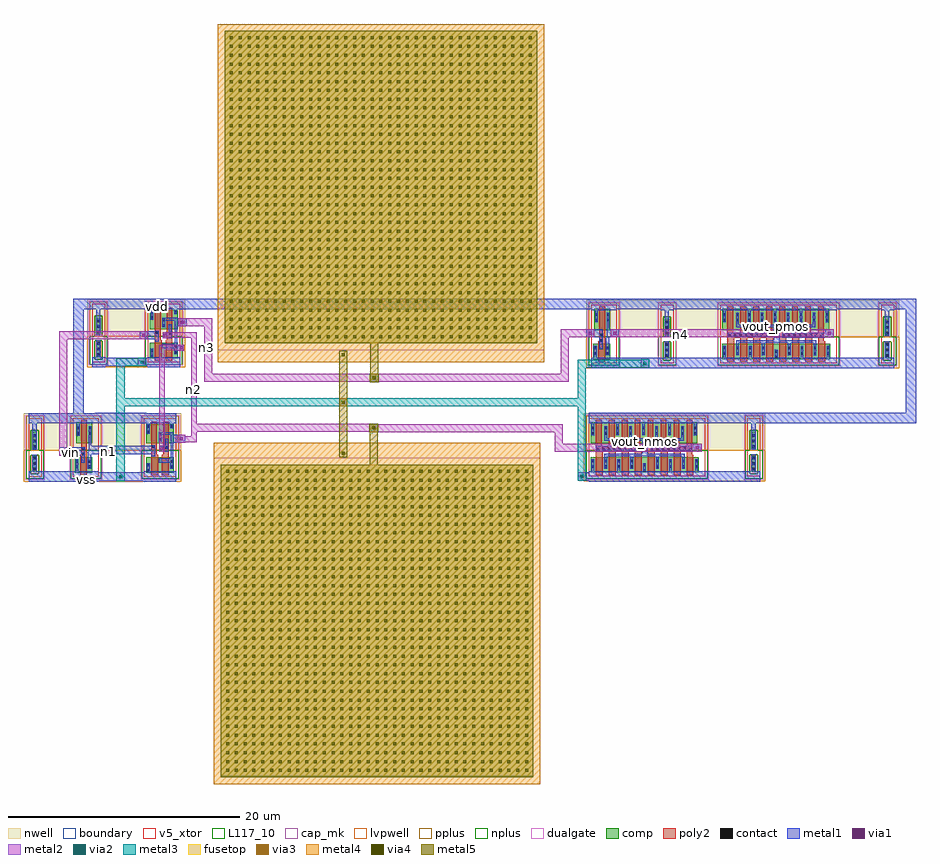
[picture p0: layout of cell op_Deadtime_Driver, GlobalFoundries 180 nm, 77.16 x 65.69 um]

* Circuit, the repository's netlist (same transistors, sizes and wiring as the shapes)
* Extracted by KLayout with GF180MCU LVS runset on : 12/09/2025 04:24

.SUBCKT op_Deadtime_Driver vss n2 n1 vout_nmos vin vdd n3 n4 vout_pmos
M$1 n2 n1 vdd vdd pfet_05v0 L=0.5U W=1.645U AS=0.7238P AD=0.4277P PS=4.17U
+ PD=2.165U
M$2 vdd n3 n2 vdd pfet_05v0 L=0.5U W=1.645U AS=0.4277P AD=0.7238P PS=2.165U
+ PD=4.17U
M$3 n1 vin vdd vdd pfet_05v0 L=0.5U W=1.83U AS=0.8052P AD=0.8052P PS=4.54U
+ PD=4.54U
M$4 vout_nmos n2 vdd vdd pfet_05v0 L=0.5U W=14.64U AS=4.7763P AD=4.7763P
+ PS=21.69U PD=21.69U
M$12 n3 vin vdd vdd pfet_05v0 L=0.5U W=1.645U AS=0.7238P AD=0.4277P PS=4.17U
+ PD=2.165U
M$13 vdd n2 n3 vdd pfet_05v0 L=0.5U W=1.645U AS=0.4277P AD=0.7238P PS=2.165U
+ PD=4.17U
M$14 n4 n3 vdd vdd pfet_05v0 L=0.5U W=1.83U AS=0.8052P AD=0.8052P PS=4.54U
+ PD=4.54U
M$15 vout_pmos n4 vdd vdd pfet_05v0 L=0.5U W=14.64U AS=4.7763P AD=4.7763P
+ PS=21.69U PD=21.69U
M$23 n1 vin vss vss nfet_05v0 L=0.6U W=1.32U AS=0.5808P AD=0.5808P PS=3.52U
+ PD=3.52U
M$24 \$12 n1 vss vss nfet_05v0 L=0.6U W=1.32U AS=0.5808P AD=0.2112P PS=3.52U
+ PD=1.64U
M$25 n2 n3 \$12 vss nfet_05v0 L=0.6U W=1.32U AS=0.2112P AD=0.5808P PS=1.64U
+ PD=3.52U
M$26 vout_nmos n2 vss vss nfet_05v0 L=0.6U W=10.56U AS=2.9832P AD=2.9832P
+ PS=16.4U PD=16.4U
M$34 n4 n3 vss vss nfet_05v0 L=0.6U W=1.32U AS=0.5808P AD=0.5808P PS=3.52U
+ PD=3.52U
M$35 vout_pmos n4 vss vss nfet_05v0 L=0.6U W=10.56U AS=2.9832P AD=2.9832P
+ PS=16.4U PD=16.4U
M$43 \$28 vin vss vss nfet_05v0 L=0.6U W=1.32U AS=0.5808P AD=0.2112P PS=3.52U
+ PD=1.64U
M$44 n3 n2 \$28 vss nfet_05v0 L=0.6U W=1.32U AS=0.2112P AD=0.5808P PS=1.64U
+ PD=3.52U
C$45 n2 \$5 1.458e-12 cap_mim_2f0_m5m6_noshield A=729P P=108U
C$46 n3 \$36 1.458e-12 cap_mim_2f0_m5m6_noshield A=729P P=108U
.ENDS op_Deadtime_Driver

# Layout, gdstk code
from math import pi, radians
import gdstk
lib = gdstk.Library(unit=1e-6, precision=1e-09)
def R(c, l, rs):  # rectangles x0, y0, x1, y1
    for r in rs: c.add(gdstk.rectangle(r[:2], r[2:], *l))
def A(c, l, x, y, w, h, nx, ny, dx, dy):  # array of equal rectangles
    R(c, l, [(x+i*dx, y+j*dy, x+i*dx+w, y+j*dy+h) for i in range(nx) for j in range(ny)])
def P(c, l, *ps):  # polygons
    for p in ps: c.add(gdstk.Polygon(p, *l))
boundary = (0, 0)
nwell = (21, 0)
comp = (22, 0)
poly2 = (30, 0)
pplus = (31, 0)
nplus = (32, 0)
contact = (33, 0)
metal1 = (34, 0)
via1 = (35, 0)
metal2 = (36, 0)
via2 = (38, 0)
via3 = (40, 0)
via4 = (41, 0)
metal3 = (42, 0)
metal4 = (46, 0)
dualgate = (55, 0)
fusetop = (75, 0)
metal5 = (81, 0)
v5_xtor = (112, 1)
cap_mk = (117, 5)
L117_10 = (117, 10)
lvpwell = (204, 0)

inv_1 = lib.new_cell('inv_1')
R(inv_1, boundary, [(19.04,15.025,21.28,20.065)])
R(inv_1, nwell, [(18.61,17.29,21.71,20.495)])
R(inv_1, comp, [(19.22,15.37,20.7,16.69), (19.32,17.89,20.7,19.72)])
P(inv_1, poly2, [(19.66,15.15),(19.66,16.91),(19.76,16.91),(19.76,19.94),(20.26,19.94),(20.26,15.15)])
R(inv_1, pplus, [(18.84,17.29,21.48,20.265)])
R(inv_1, nplus, [(18.84,14.825,21.48,17.29)])
R(inv_1, contact, [(19.29,15.765,19.51,15.985), (20.41,15.765,20.63,15.985), (19.29,16.235,19.51,16.455), (20.41,16.235,20.63,16.455), (19.83,16.86,20.05,17.08), (19.83,17.33,20.05,17.55), (19.39,18.635,19.61,18.855), (20.41,18.635,20.63,18.855), (19.39,19.105,19.61,19.325), (20.41,19.105,20.63,19.325)])
P(inv_1, metal1, [(19.75,16.235),(19.75,17.555),(20.11,17.555),(20.11,17.325),(20.055,17.325),(20.055,16.235)],
  [(20.31,15.705),(20.31,17.175),(20.405,17.175),(20.405,19.385),(20.635,19.385),(20.635,15.705)],
  [(19.04,14.575),(19.04,15.475),(19.285,15.475),(19.285,16.515),(19.515,16.515),(19.515,15.475),(21.28,15.475),(21.28,14.575)],
  [(19.385,18.575),(19.385,19.615),(19.04,19.615),(19.04,20.515),(21.28,20.515),(21.28,19.615),(19.615,19.615),(19.615,18.575)])
R(inv_1, dualgate, [(18.76,14.745,21.56,20.345)])
R(inv_1, v5_xtor, [(19.04,15.025,21.28,20.065)])
R(inv_1, lvpwell, [(18.61,14.595,21.71,17.29)])
inv_1.add(gdstk.Label('& Vendor GLOBALFOUNDRIES', (19.04,17.025), layer=63, texttype=63))
inv_1.add(gdstk.Label('& Product GF018hv5v_green_sc9', (19.04,16.525), layer=63, texttype=63))
inv_1.add(gdstk.Label('& Version 2015q2v2', (19.04,16.025), layer=63, texttype=63))
inv_1.add(gdstk.Label('& Metric 1.00', (19.04,15.525), layer=63, texttype=63))
inv_1.add(gdstk.Label('VNW', (19.385,18.945), layer=21, texttype=10))
inv_1.add(gdstk.Label('VPW', (19.38,14.94), layer=204, texttype=10))

cap_mim_1 = lib.new_cell('cap_mim$1')
A(cap_mim_1, via4, 0.45, 0.45, 0.26, 0.26, 35, 35, 0.76, 0.76)
R(cap_mim_1, metal4, [(-0.6,-0.6,27.6,27.6)])
R(cap_mim_1, fusetop, [(0,0,27,27)])
R(cap_mim_1, metal5, [(0,0,27,27)])
R(cap_mim_1, cap_mk, [(-0.6,-0.6,27.6,27.6)])
R(cap_mim_1, L117_10, [(0,0,27,0.1)])

inv_8 = lib.new_cell('inv_8')
R(inv_8, boundary, [(22.97,23.615,33.05,28.655)])
R(inv_8, nwell, [(22.54,25.88,33.48,29.085)])
R(inv_8, comp, [(23.15,23.96,32.47,25.28), (23.15,26.48,32.37,28.31)])
P(inv_8, poly2, [(23.59,23.74),(23.59,28.53),(24.09,28.53),(24.09,26.18),(24.71,26.18),(24.71,28.53),(25.21,28.53),(25.21,26.18),(25.83,26.18),(25.83,28.53),(26.33,28.53),(26.33,26.18),(26.95,26.18),(26.95,28.53),(27.45,28.53),(27.45,26.175),(28.07,26.175),(28.07,28.53),(28.57,28.53),(28.57,26.18),(29.19,26.18),(29.19,28.53),(29.69,28.53),(29.69,26.18),(30.31,26.18),(30.31,28.53),(30.81,28.53),(30.81,26.18),(31.43,26.18),(31.43,28.53),(31.93,28.53),(31.93,25.5),(32.03,25.5),(32.03,23.74),(31.43,23.74),(31.43,25.82),(30.91,25.82),(30.91,23.74),(30.31,23.74),(30.31,25.82),(29.79,25.82),(29.79,23.74),(29.19,23.74),(29.19,25.82),(28.67,25.82),(28.67,23.74),(28.07,23.74),(28.07,25.82),(27.55,25.82),(27.55,23.74),(26.95,23.74),(26.95,25.82),(26.43,25.82),(26.43,23.74),(25.83,23.74),(25.83,25.82),(25.31,25.82),(25.31,23.74),(24.71,23.74),(24.71,25.82),(24.19,25.82),(24.19,23.74)])
R(inv_8, pplus, [(22.77,25.88,33.25,28.855)])
R(inv_8, nplus, [(22.77,23.415,33.25,25.88)])
A(inv_8, contact, 23.22, 24.355, 0.22, 0.22, 4, 2, 1.12, 0.47)
A(inv_8, contact, 28.82, 24.355, 0.22, 0.22, 4, 2, 1.12, 0.47)
A(inv_8, contact, 23.66, 25.89, 0.22, 0.22, 8, 1, 0.47, 0)
A(inv_8, contact, 28.335, 25.89, 0.22, 0.22, 8, 1, 0.47, 0)
A(inv_8, contact, 25.36, 27.225, 0.22, 0.22, 7, 2, 1.12, 0.47)
R(inv_8, contact, [(27.7,24.03,27.92,24.25), (27.7,24.5,27.92,24.72), (23.22,27.225,23.44,27.445), (24.34,27.225,24.56,27.445), (23.22,27.695,23.44,27.915), (24.34,27.695,24.56,27.915)])
R(inv_8, metal1, [(28.33,25.83,31.85,26.265), (23.6,25.88,27.23,26.26)])
P(inv_8, metal1, [(24.335,24.295),(24.335,25.6),(27.6,25.6),(27.6,26.705),(24.335,26.705),(24.335,27.975),(24.565,27.975),(24.565,26.935),(26.475,26.935),(26.475,27.975),(26.705,27.975),(26.705,26.935),(28.715,26.935),(28.715,27.975),(28.945,27.975),(28.945,26.935),(30.955,26.935),(30.955,27.975),(31.185,27.975),(31.185,26.705),(28.1,26.705),(28.1,25.6),(31.285,25.6),(31.285,24.295),(31.055,24.295),(31.055,25.37),(29.045,25.37),(29.045,24.295),(28.815,24.295),(28.815,25.37),(26.805,25.37),(26.805,24.295),(26.545,24.295),(26.545,25.37),(24.565,25.37),(24.565,24.295)],
  [(22.97,23.165),(22.97,24.065),(23.215,24.065),(23.215,25.105),(23.445,25.105),(23.445,24.065),(25.455,24.065),(25.455,25.105),(25.685,25.105),(25.685,24.065),(27.695,24.065),(27.695,24.78),(27.925,24.78),(27.925,24.065),(29.935,24.065),(29.935,25.105),(30.165,25.105),(30.165,24.065),(32.175,24.065),(32.175,25.105),(32.405,25.105),(32.405,24.065),(33.05,24.065),(33.05,23.165)],
  [(23.215,27.165),(23.215,28.205),(22.97,28.205),(22.97,29.105),(33.05,29.105),(33.05,28.205),(32.305,28.205),(32.305,27.165),(32.075,27.165),(32.075,28.205),(30.065,28.205),(30.065,27.165),(29.835,27.165),(29.835,28.205),(27.825,28.205),(27.825,27.165),(27.595,27.165),(27.595,28.205),(25.585,28.205),(25.585,27.165),(25.355,27.165),(25.355,28.205),(23.445,28.205),(23.445,27.165)])
R(inv_8, dualgate, [(22.69,23.335,33.33,28.935)])
R(inv_8, v5_xtor, [(22.97,23.615,33.05,28.655)])
R(inv_8, lvpwell, [(22.54,23.185,33.48,25.88)])
inv_8.add(gdstk.Label('& Vendor GLOBALFOUNDRIES', (22.97,25.615), layer=63, texttype=63))
inv_8.add(gdstk.Label('& Product GF018hv5v_green_sc9', (22.97,25.115), layer=63, texttype=63))
inv_8.add(gdstk.Label('& Version 2015q2v2', (22.97,24.615), layer=63, texttype=63))
inv_8.add(gdstk.Label('& Metric 1.00', (22.97,24.115), layer=63, texttype=63))
inv_8.add(gdstk.Label('VNW', (23.315,27.535), layer=21, texttype=10))
inv_8.add(gdstk.Label('VPW', (23.31,23.53), layer=204, texttype=10))

via_dev_2 = lib.new_cell('via_dev$2')
R(via_dev_2, metal1, [(0,0,0.7,0.7)])
R(via_dev_2, via1, [(0.22,0.22,0.48,0.48)])
R(via_dev_2, metal2, [(0,0,0.7,0.7)])

via_dev_3 = lib.new_cell('via_dev$3')
R(via_dev_3, metal1, [(0,0,0.5,0.5)])
R(via_dev_3, via1, [(0.12,0.12,0.38,0.38)])
R(via_dev_3, metal2, [(0,0,0.5,0.5)])

via_dev_8 = lib.new_cell('via_dev$8')
R(via_dev_8, metal2, [(0,0,0.75,0.75)])
R(via_dev_8, via2, [(0.245,0.245,0.505,0.505)])
R(via_dev_8, via3, [(0.245,0.245,0.505,0.505)])
R(via_dev_8, via4, [(0.245,0.245,0.505,0.505)])
R(via_dev_8, metal3, [(0,0,0.75,0.75)])
R(via_dev_8, metal4, [(0,0,0.75,0.75)])
R(via_dev_8, metal5, [(0,0,0.75,0.75)])

via_dev = lib.new_cell('via_dev')
R(via_dev, metal1, [(0,0,0.75,0.75)])
R(via_dev, via1, [(0.245,0.245,0.505,0.505)])
R(via_dev, metal2, [(0,0,0.75,0.75)])
R(via_dev, via2, [(0.245,0.245,0.505,0.505)])
R(via_dev, metal3, [(0,0,0.75,0.75)])

nand2_1_1 = lib.new_cell('nand2_1$1')
R(nand2_1_1, boundary, [(12.92,15.025,15.72,20.065)])
R(nand2_1_1, nwell, [(12.49,17.29,16.15,20.495)])
R(nand2_1_1, comp, [(13.105,15.37,15.505,16.69), (13.105,17.89,15.505,19.535)])
P(nand2_1_1, poly2, [(13.545,15.15),(13.545,19.755),(14.045,19.755),(14.045,16.91),(14.145,16.91),(14.145,15.15)],
  [(14.465,15.15),(14.465,16.91),(14.565,16.91),(14.565,19.755),(15.065,19.755),(15.065,15.15)])
R(nand2_1_1, pplus, [(12.72,17.29,15.92,20.265)])
R(nand2_1_1, nplus, [(12.72,14.825,15.92,17.29)])
R(nand2_1_1, contact, [(13.175,15.44,13.395,15.66), (15.215,15.765,15.435,15.985), (13.175,15.91,13.395,16.13), (15.215,16.235,15.435,16.455), (14.755,17.415,14.975,17.635), (13.615,17.5,13.835,17.72), (14.195,18.105,14.415,18.325), (14.195,18.575,14.415,18.795), (13.175,18.775,13.395,18.995), (13.175,19.245,13.395,19.465), (15.215,19.245,15.435,19.465)])
R(nand2_1_1, metal1, [(13.555,16.795,13.895,17.735), (14.75,17.355,15.01,18.295)])
P(nand2_1_1, metal1, [(15.21,15.705),(15.21,16.235),(14.19,16.235),(14.19,16.615),(15.24,16.615),(15.24,18.625),(14.45,18.625),(14.45,18.045),(14.19,18.045),(14.19,18.855),(15.47,18.855),(15.47,15.705)],
  [(12.92,14.575),(12.92,15.475),(13.17,15.475),(13.17,16.19),(13.4,16.19),(13.4,15.475),(15.72,15.475),(15.72,14.575)],
  [(13.17,18.715),(13.17,19.615),(12.92,19.615),(12.92,20.515),(15.72,20.515),(15.72,19.615),(15.44,19.615),(15.44,19.185),(15.21,19.185),(15.21,19.615),(13.4,19.615),(13.4,18.715)])
R(nand2_1_1, dualgate, [(12.64,14.745,16,20.345)])
R(nand2_1_1, v5_xtor, [(12.92,15.025,15.72,20.065)])
R(nand2_1_1, lvpwell, [(12.49,14.595,16.15,17.29)])
nand2_1_1.add(gdstk.Label('& Vendor GLOBALFOUNDRIES', (12.92,17.025), layer=63, texttype=63))
nand2_1_1.add(gdstk.Label('& Product GF018hv5v_green_sc9', (12.92,16.525), layer=63, texttype=63))
nand2_1_1.add(gdstk.Label('& Version 2015q2v2', (12.92,16.025), layer=63, texttype=63))
nand2_1_1.add(gdstk.Label('& Metric 1.00', (12.92,15.525), layer=63, texttype=63))
nand2_1_1.add(gdstk.Label('VNW', (13.265,18.945), layer=21, texttype=10))
nand2_1_1.add(gdstk.Label('VPW', (13.26,14.94), layer=204, texttype=10))

nand2_1 = lib.new_cell('nand2_1')
R(nand2_1, boundary, [(12.92,15.025,15.72,20.065)])
R(nand2_1, nwell, [(12.49,17.29,16.15,20.495)])
R(nand2_1, comp, [(13.105,15.37,15.505,16.69), (13.105,17.89,15.505,19.535)])
P(nand2_1, poly2, [(13.545,15.15),(13.545,19.755),(14.045,19.755),(14.045,16.91),(14.145,16.91),(14.145,15.15)],
  [(14.465,15.15),(14.465,16.91),(14.565,16.91),(14.565,19.755),(15.065,19.755),(15.065,15.15)])
R(nand2_1, pplus, [(12.72,17.29,15.92,20.265)])
R(nand2_1, nplus, [(12.72,14.825,15.92,17.29)])
R(nand2_1, contact, [(13.175,15.44,13.395,15.66), (15.215,15.765,15.435,15.985), (13.175,15.91,13.395,16.13), (15.215,16.235,15.435,16.455), (14.755,17.415,14.975,17.635), (13.615,17.5,13.835,17.72), (14.195,18.105,14.415,18.325), (14.195,18.575,14.415,18.795), (13.175,18.775,13.395,18.995), (13.175,19.245,13.395,19.465), (15.215,19.245,15.435,19.465)])
R(nand2_1, metal1, [(13.555,16.795,13.895,17.735), (14.75,17.355,15.01,18.295)])
P(nand2_1, metal1, [(15.21,15.705),(15.21,16.235),(14.19,16.235),(14.19,16.615),(15.24,16.615),(15.24,18.625),(14.45,18.625),(14.45,18.045),(14.19,18.045),(14.19,18.855),(15.47,18.855),(15.47,15.705)],
  [(12.92,14.575),(12.92,15.475),(13.17,15.475),(13.17,16.19),(13.4,16.19),(13.4,15.475),(15.72,15.475),(15.72,14.575)],
  [(13.17,18.715),(13.17,19.615),(12.92,19.615),(12.92,20.515),(15.72,20.515),(15.72,19.615),(15.44,19.615),(15.44,19.185),(15.21,19.185),(15.21,19.615),(13.4,19.615),(13.4,18.715)])
R(nand2_1, dualgate, [(12.64,14.745,16,20.345)])
R(nand2_1, v5_xtor, [(12.92,15.025,15.72,20.065)])
R(nand2_1, lvpwell, [(12.49,14.595,16.15,17.29)])
nand2_1.add(gdstk.Label('& Vendor GLOBALFOUNDRIES', (12.92,17.025), layer=63, texttype=63))
nand2_1.add(gdstk.Label('& Product GF018hv5v_green_sc9', (12.92,16.525), layer=63, texttype=63))
nand2_1.add(gdstk.Label('& Version 2015q2v2', (12.92,16.025), layer=63, texttype=63))
nand2_1.add(gdstk.Label('& Metric 1.00', (12.92,15.525), layer=63, texttype=63))
nand2_1.add(gdstk.Label('VNW', (13.265,18.945), layer=21, texttype=10))
nand2_1.add(gdstk.Label('VPW', (13.26,14.94), layer=204, texttype=10))

inv_1_1 = lib.new_cell('inv_1$1')
R(inv_1_1, boundary, [(19.04,15.025,21.28,20.065)])
R(inv_1_1, nwell, [(18.61,17.29,21.71,20.495)])
R(inv_1_1, comp, [(19.22,15.37,20.7,16.69), (19.32,17.89,20.7,19.72)])
P(inv_1_1, poly2, [(19.66,15.15),(19.66,16.91),(19.76,16.91),(19.76,19.94),(20.26,19.94),(20.26,15.15)])
R(inv_1_1, pplus, [(18.84,17.29,21.48,20.265)])
R(inv_1_1, nplus, [(18.84,14.825,21.48,17.29)])
R(inv_1_1, contact, [(19.29,15.765,19.51,15.985), (20.41,15.765,20.63,15.985), (19.29,16.235,19.51,16.455), (20.41,16.235,20.63,16.455), (19.83,16.86,20.05,17.08), (19.83,17.33,20.05,17.55), (19.39,18.635,19.61,18.855), (20.41,18.635,20.63,18.855), (19.39,19.105,19.61,19.325), (20.41,19.105,20.63,19.325)])
P(inv_1_1, metal1, [(19.75,16.235),(19.75,17.555),(20.11,17.555),(20.11,17.325),(20.055,17.325),(20.055,16.235)],
  [(20.31,15.705),(20.31,17.175),(20.405,17.175),(20.405,19.385),(20.635,19.385),(20.635,15.705)],
  [(19.04,14.575),(19.04,15.475),(19.285,15.475),(19.285,16.515),(19.515,16.515),(19.515,15.475),(21.28,15.475),(21.28,14.575)],
  [(19.385,18.575),(19.385,19.615),(19.04,19.615),(19.04,20.515),(21.28,20.515),(21.28,19.615),(19.615,19.615),(19.615,18.575)])
R(inv_1_1, dualgate, [(18.76,14.745,21.56,20.345)])
R(inv_1_1, v5_xtor, [(19.04,15.025,21.28,20.065)])
R(inv_1_1, lvpwell, [(18.61,14.595,21.71,17.29)])
inv_1_1.add(gdstk.Label('& Vendor GLOBALFOUNDRIES', (19.04,17.025), layer=63, texttype=63))
inv_1_1.add(gdstk.Label('& Product GF018hv5v_green_sc9', (19.04,16.525), layer=63, texttype=63))
inv_1_1.add(gdstk.Label('& Version 2015q2v2', (19.04,16.025), layer=63, texttype=63))
inv_1_1.add(gdstk.Label('& Metric 1.00', (19.04,15.525), layer=63, texttype=63))
inv_1_1.add(gdstk.Label('VNW', (19.385,18.945), layer=21, texttype=10))
inv_1_1.add(gdstk.Label('VPW', (19.38,14.94), layer=204, texttype=10))

inv_8_1 = lib.new_cell('inv_8$1')
R(inv_8_1, boundary, [(22.97,23.615,33.05,28.655)])
R(inv_8_1, nwell, [(22.54,25.88,33.48,29.085)])
R(inv_8_1, comp, [(23.15,23.96,32.47,25.28), (23.15,26.48,32.37,28.31)])
P(inv_8_1, poly2, [(23.59,23.74),(23.59,28.53),(24.09,28.53),(24.09,26.18),(24.71,26.18),(24.71,28.53),(25.21,28.53),(25.21,26.18),(25.83,26.18),(25.83,28.53),(26.33,28.53),(26.33,26.18),(26.95,26.18),(26.95,28.53),(27.45,28.53),(27.45,26.175),(28.07,26.175),(28.07,28.53),(28.57,28.53),(28.57,26.18),(29.19,26.18),(29.19,28.53),(29.69,28.53),(29.69,26.18),(30.31,26.18),(30.31,28.53),(30.81,28.53),(30.81,26.18),(31.43,26.18),(31.43,28.53),(31.93,28.53),(31.93,25.5),(32.03,25.5),(32.03,23.74),(31.43,23.74),(31.43,25.82),(30.91,25.82),(30.91,23.74),(30.31,23.74),(30.31,25.82),(29.79,25.82),(29.79,23.74),(29.19,23.74),(29.19,25.82),(28.67,25.82),(28.67,23.74),(28.07,23.74),(28.07,25.82),(27.55,25.82),(27.55,23.74),(26.95,23.74),(26.95,25.82),(26.43,25.82),(26.43,23.74),(25.83,23.74),(25.83,25.82),(25.31,25.82),(25.31,23.74),(24.71,23.74),(24.71,25.82),(24.19,25.82),(24.19,23.74)])
R(inv_8_1, pplus, [(22.77,25.88,33.25,28.855)])
R(inv_8_1, nplus, [(22.77,23.415,33.25,25.88)])
A(inv_8_1, contact, 23.22, 24.355, 0.22, 0.22, 4, 2, 1.12, 0.47)
A(inv_8_1, contact, 28.82, 24.355, 0.22, 0.22, 4, 2, 1.12, 0.47)
A(inv_8_1, contact, 23.66, 25.89, 0.22, 0.22, 8, 1, 0.47, 0)
A(inv_8_1, contact, 28.335, 25.89, 0.22, 0.22, 8, 1, 0.47, 0)
A(inv_8_1, contact, 25.36, 27.225, 0.22, 0.22, 7, 2, 1.12, 0.47)
R(inv_8_1, contact, [(27.7,24.03,27.92,24.25), (27.7,24.5,27.92,24.72), (23.22,27.225,23.44,27.445), (24.34,27.225,24.56,27.445), (23.22,27.695,23.44,27.915), (24.34,27.695,24.56,27.915)])
R(inv_8_1, metal1, [(28.33,25.83,31.85,26.265), (23.6,25.88,27.23,26.26)])
P(inv_8_1, metal1, [(24.335,24.295),(24.335,25.6),(27.6,25.6),(27.6,26.705),(24.335,26.705),(24.335,27.975),(24.565,27.975),(24.565,26.935),(26.475,26.935),(26.475,27.975),(26.705,27.975),(26.705,26.935),(28.715,26.935),(28.715,27.975),(28.945,27.975),(28.945,26.935),(30.955,26.935),(30.955,27.975),(31.185,27.975),(31.185,26.705),(28.1,26.705),(28.1,25.6),(31.285,25.6),(31.285,24.295),(31.055,24.295),(31.055,25.37),(29.045,25.37),(29.045,24.295),(28.815,24.295),(28.815,25.37),(26.805,25.37),(26.805,24.295),(26.545,24.295),(26.545,25.37),(24.565,25.37),(24.565,24.295)],
  [(22.97,23.165),(22.97,24.065),(23.215,24.065),(23.215,25.105),(23.445,25.105),(23.445,24.065),(25.455,24.065),(25.455,25.105),(25.685,25.105),(25.685,24.065),(27.695,24.065),(27.695,24.78),(27.925,24.78),(27.925,24.065),(29.935,24.065),(29.935,25.105),(30.165,25.105),(30.165,24.065),(32.175,24.065),(32.175,25.105),(32.405,25.105),(32.405,24.065),(33.05,24.065),(33.05,23.165)],
  [(23.215,27.165),(23.215,28.205),(22.97,28.205),(22.97,29.105),(33.05,29.105),(33.05,28.205),(32.305,28.205),(32.305,27.165),(32.075,27.165),(32.075,28.205),(30.065,28.205),(30.065,27.165),(29.835,27.165),(29.835,28.205),(27.825,28.205),(27.825,27.165),(27.595,27.165),(27.595,28.205),(25.585,28.205),(25.585,27.165),(25.355,27.165),(25.355,28.205),(23.445,28.205),(23.445,27.165)])
R(inv_8_1, dualgate, [(22.69,23.335,33.33,28.935)])
R(inv_8_1, v5_xtor, [(22.97,23.615,33.05,28.655)])
R(inv_8_1, lvpwell, [(22.54,23.185,33.48,25.88)])
inv_8_1.add(gdstk.Label('& Vendor GLOBALFOUNDRIES', (22.97,25.615), layer=63, texttype=63))
inv_8_1.add(gdstk.Label('& Product GF018hv5v_green_sc9', (22.97,25.115), layer=63, texttype=63))
inv_8_1.add(gdstk.Label('& Version 2015q2v2', (22.97,24.615), layer=63, texttype=63))
inv_8_1.add(gdstk.Label('& Metric 1.00', (22.97,24.115), layer=63, texttype=63))
inv_8_1.add(gdstk.Label('VNW', (23.315,27.535), layer=21, texttype=10))
inv_8_1.add(gdstk.Label('VPW', (23.31,23.53), layer=204, texttype=10))

via_dev_6 = lib.new_cell('via_dev$6')
R(via_dev_6, via4, [(0.22,0.22,0.48,0.48)])
R(via_dev_6, metal4, [(0,0,0.7,0.7)])
R(via_dev_6, metal5, [(0,0,0.7,0.7)])

via_dev_7 = lib.new_cell('via_dev$7')
R(via_dev_7, via3, [(0.22,0.22,0.48,0.48)])
R(via_dev_7, via4, [(0.22,0.22,0.48,0.48)])
R(via_dev_7, metal3, [(0,0,0.7,0.7)])
R(via_dev_7, metal4, [(0,0,0.7,0.7)])
R(via_dev_7, metal5, [(0,0,0.7,0.7)])

gf180mcu_fd_sc_mcu9t5v0_ = lib.new_cell('gf180mcu_fd_sc_mcu9t5v0__filltie')
R(gf180mcu_fd_sc_mcu9t5v0_, boundary, [(0,0,1.12,5.04)])
R(gf180mcu_fd_sc_mcu9t5v0_, nwell, [(-0.43,2.265,1.55,5.47)])
R(gf180mcu_fd_sc_mcu9t5v0_, comp, [(0.36,0.41,0.72,1.785), (0.36,2.425,0.72,3.855)])
R(gf180mcu_fd_sc_mcu9t5v0_, pplus, [(0.2,0.25,0.88,1.865)])
P(gf180mcu_fd_sc_mcu9t5v0_, pplus, [(-0.2,2.265),(-0.2,5.24),(1.32,5.24),(1.32,2.265),(0.88,2.265),(0.88,4.015),(0.2,4.015),(0.2,2.265)])
P(gf180mcu_fd_sc_mcu9t5v0_, nplus, [(-0.2,-0.2),(-0.2,2.265),(0.2,2.265),(0.2,4.015),(0.88,4.015),(0.88,1.865),(0.2,1.865),(0.2,0.25),(0.88,0.25),(0.88,4.015),(0.88,2.265),(1.32,2.265),(1.32,-0.2)])
A(gf180mcu_fd_sc_mcu9t5v0_, contact, 0.43, 0.555, 0.22, 0.22, 1, 3, 0, 0.47)
A(gf180mcu_fd_sc_mcu9t5v0_, contact, 0.43, 2.495, 0.22, 0.22, 1, 3, 0, 0.47)
P(gf180mcu_fd_sc_mcu9t5v0_, metal1, [(0,-0.45),(0,0.45),(0.33,0.45),(0.33,1.91),(0.71,1.91),(0.71,0.45),(1.12,0.45),(1.12,-0.45)],
  [(0.33,2.34),(0.33,4.59),(0,4.59),(0,5.49),(1.12,5.49),(1.12,4.59),(0.71,4.59),(0.71,2.34)])
R(gf180mcu_fd_sc_mcu9t5v0_, dualgate, [(-0.28,-0.28,1.4,5.32)])
R(gf180mcu_fd_sc_mcu9t5v0_, v5_xtor, [(0,0,1.12,5.04)])
R(gf180mcu_fd_sc_mcu9t5v0_, lvpwell, [(-0.43,-0.43,1.55,2.265)])
gf180mcu_fd_sc_mcu9t5v0_.add(gdstk.Label('& Vendor GLOBALFOUNDRIES', (0,2), layer=63, texttype=63))
gf180mcu_fd_sc_mcu9t5v0_.add(gdstk.Label('& Product GF018hv5v_green_sc9', (0,1.5), layer=63, texttype=63))
gf180mcu_fd_sc_mcu9t5v0_.add(gdstk.Label('& Version 2015q2v2', (0,1), layer=63, texttype=63))
gf180mcu_fd_sc_mcu9t5v0_.add(gdstk.Label('& Metric 1.00', (0,0.5), layer=63, texttype=63))
gf180mcu_fd_sc_mcu9t5v0_.add(gdstk.Label('vdd', (0.56,5.49), layer=34, texttype=10))
gf180mcu_fd_sc_mcu9t5v0_.add(gdstk.Label('vss', (0.56,-0.45), layer=34, texttype=10))

c_gf180mcu_fd_sc_mcu9t5v0_ = lib.new_cell('gf180mcu_fd_sc_mcu9t5v0__filltie$1')
R(c_gf180mcu_fd_sc_mcu9t5v0_, boundary, [(0,0,1.12,5.04)])
R(c_gf180mcu_fd_sc_mcu9t5v0_, nwell, [(-0.43,2.265,1.55,5.47)])
R(c_gf180mcu_fd_sc_mcu9t5v0_, comp, [(0.36,0.41,0.72,1.785), (0.36,2.425,0.72,3.855)])
R(c_gf180mcu_fd_sc_mcu9t5v0_, pplus, [(0.2,0.25,0.88,1.865)])
P(c_gf180mcu_fd_sc_mcu9t5v0_, pplus, [(-0.2,2.265),(-0.2,5.24),(1.32,5.24),(1.32,2.265),(0.88,2.265),(0.88,4.015),(0.2,4.015),(0.2,2.265)])
P(c_gf180mcu_fd_sc_mcu9t5v0_, nplus, [(-0.2,-0.2),(-0.2,2.265),(0.2,2.265),(0.2,4.015),(0.88,4.015),(0.88,1.865),(0.2,1.865),(0.2,0.25),(0.88,0.25),(0.88,4.015),(0.88,2.265),(1.32,2.265),(1.32,-0.2)])
A(c_gf180mcu_fd_sc_mcu9t5v0_, contact, 0.43, 0.555, 0.22, 0.22, 1, 3, 0, 0.47)
A(c_gf180mcu_fd_sc_mcu9t5v0_, contact, 0.43, 2.495, 0.22, 0.22, 1, 3, 0, 0.47)
P(c_gf180mcu_fd_sc_mcu9t5v0_, metal1, [(0,-0.45),(0,0.45),(0.33,0.45),(0.33,1.91),(0.71,1.91),(0.71,0.45),(1.12,0.45),(1.12,-0.45)],
  [(0.33,2.34),(0.33,4.59),(0,4.59),(0,5.49),(1.12,5.49),(1.12,4.59),(0.71,4.59),(0.71,2.34)])
R(c_gf180mcu_fd_sc_mcu9t5v0_, dualgate, [(-0.28,-0.28,1.4,5.32)])
R(c_gf180mcu_fd_sc_mcu9t5v0_, v5_xtor, [(0,0,1.12,5.04)])
R(c_gf180mcu_fd_sc_mcu9t5v0_, lvpwell, [(-0.43,-0.43,1.55,2.265)])
c_gf180mcu_fd_sc_mcu9t5v0_.add(gdstk.Label('& Vendor GLOBALFOUNDRIES', (0,2), layer=63, texttype=63))
c_gf180mcu_fd_sc_mcu9t5v0_.add(gdstk.Label('& Product GF018hv5v_green_sc9', (0,1.5), layer=63, texttype=63))
c_gf180mcu_fd_sc_mcu9t5v0_.add(gdstk.Label('& Version 2015q2v2', (0,1), layer=63, texttype=63))
c_gf180mcu_fd_sc_mcu9t5v0_.add(gdstk.Label('& Metric 1.00', (0,0.5), layer=63, texttype=63))
c_gf180mcu_fd_sc_mcu9t5v0_.add(gdstk.Label('vdd', (0.56,5.49), layer=34, texttype=10))
c_gf180mcu_fd_sc_mcu9t5v0_.add(gdstk.Label('vss', (0.56,-0.45), layer=34, texttype=10))

c_gf180mcu_fd_sc_mcu9t5v0__ = lib.new_cell('gf180mcu_fd_sc_mcu9t5v0__filltie$2')
R(c_gf180mcu_fd_sc_mcu9t5v0__, boundary, [(0,0,1.12,5.04)])
R(c_gf180mcu_fd_sc_mcu9t5v0__, nwell, [(-0.43,2.265,1.55,5.47)])
R(c_gf180mcu_fd_sc_mcu9t5v0__, comp, [(0.36,0.41,0.72,1.785), (0.36,2.425,0.72,3.855)])
R(c_gf180mcu_fd_sc_mcu9t5v0__, pplus, [(0.2,0.25,0.88,1.865)])
P(c_gf180mcu_fd_sc_mcu9t5v0__, pplus, [(-0.2,2.265),(-0.2,5.24),(1.32,5.24),(1.32,2.265),(0.88,2.265),(0.88,4.015),(0.2,4.015),(0.2,2.265)])
P(c_gf180mcu_fd_sc_mcu9t5v0__, nplus, [(-0.2,-0.2),(-0.2,2.265),(0.2,2.265),(0.2,4.015),(0.88,4.015),(0.88,1.865),(0.2,1.865),(0.2,0.25),(0.88,0.25),(0.88,4.015),(0.88,2.265),(1.32,2.265),(1.32,-0.2)])
A(c_gf180mcu_fd_sc_mcu9t5v0__, contact, 0.43, 0.555, 0.22, 0.22, 1, 3, 0, 0.47)
A(c_gf180mcu_fd_sc_mcu9t5v0__, contact, 0.43, 2.495, 0.22, 0.22, 1, 3, 0, 0.47)
P(c_gf180mcu_fd_sc_mcu9t5v0__, metal1, [(0,-0.45),(0,0.45),(0.33,0.45),(0.33,1.91),(0.71,1.91),(0.71,0.45),(1.12,0.45),(1.12,-0.45)],
  [(0.33,2.34),(0.33,4.59),(0,4.59),(0,5.49),(1.12,5.49),(1.12,4.59),(0.71,4.59),(0.71,2.34)])
R(c_gf180mcu_fd_sc_mcu9t5v0__, dualgate, [(-0.28,-0.28,1.4,5.32)])
R(c_gf180mcu_fd_sc_mcu9t5v0__, v5_xtor, [(0,0,1.12,5.04)])
R(c_gf180mcu_fd_sc_mcu9t5v0__, lvpwell, [(-0.43,-0.43,1.55,2.265)])
c_gf180mcu_fd_sc_mcu9t5v0__.add(gdstk.Label('& Vendor GLOBALFOUNDRIES', (0,2), layer=63, texttype=63))
c_gf180mcu_fd_sc_mcu9t5v0__.add(gdstk.Label('& Product GF018hv5v_green_sc9', (0,1.5), layer=63, texttype=63))
c_gf180mcu_fd_sc_mcu9t5v0__.add(gdstk.Label('& Version 2015q2v2', (0,1), layer=63, texttype=63))
c_gf180mcu_fd_sc_mcu9t5v0__.add(gdstk.Label('& Metric 1.00', (0,0.5), layer=63, texttype=63))
c_gf180mcu_fd_sc_mcu9t5v0__.add(gdstk.Label('vdd', (0.56,5.49), layer=34, texttype=10))
c_gf180mcu_fd_sc_mcu9t5v0__.add(gdstk.Label('vss', (0.56,-0.45), layer=34, texttype=10))

c_gf180mcu_fd_sc_mcu9t5v0___ = lib.new_cell('gf180mcu_fd_sc_mcu9t5v0__filltie$3')
R(c_gf180mcu_fd_sc_mcu9t5v0___, boundary, [(0,0,1.12,5.04)])
R(c_gf180mcu_fd_sc_mcu9t5v0___, nwell, [(-0.43,2.265,1.55,5.47)])
R(c_gf180mcu_fd_sc_mcu9t5v0___, comp, [(0.36,0.41,0.72,1.785), (0.36,2.425,0.72,3.855)])
R(c_gf180mcu_fd_sc_mcu9t5v0___, pplus, [(0.2,0.25,0.88,1.865)])
P(c_gf180mcu_fd_sc_mcu9t5v0___, pplus, [(-0.2,2.265),(-0.2,5.24),(1.32,5.24),(1.32,2.265),(0.88,2.265),(0.88,4.015),(0.2,4.015),(0.2,2.265)])
P(c_gf180mcu_fd_sc_mcu9t5v0___, nplus, [(-0.2,-0.2),(-0.2,2.265),(0.2,2.265),(0.2,4.015),(0.88,4.015),(0.88,1.865),(0.2,1.865),(0.2,0.25),(0.88,0.25),(0.88,4.015),(0.88,2.265),(1.32,2.265),(1.32,-0.2)])
A(c_gf180mcu_fd_sc_mcu9t5v0___, contact, 0.43, 0.555, 0.22, 0.22, 1, 3, 0, 0.47)
A(c_gf180mcu_fd_sc_mcu9t5v0___, contact, 0.43, 2.495, 0.22, 0.22, 1, 3, 0, 0.47)
P(c_gf180mcu_fd_sc_mcu9t5v0___, metal1, [(0,-0.45),(0,0.45),(0.33,0.45),(0.33,1.91),(0.71,1.91),(0.71,0.45),(1.12,0.45),(1.12,-0.45)],
  [(0.33,2.34),(0.33,4.59),(0,4.59),(0,5.49),(1.12,5.49),(1.12,4.59),(0.71,4.59),(0.71,2.34)])
R(c_gf180mcu_fd_sc_mcu9t5v0___, dualgate, [(-0.28,-0.28,1.4,5.32)])
R(c_gf180mcu_fd_sc_mcu9t5v0___, v5_xtor, [(0,0,1.12,5.04)])
R(c_gf180mcu_fd_sc_mcu9t5v0___, lvpwell, [(-0.43,-0.43,1.55,2.265)])
c_gf180mcu_fd_sc_mcu9t5v0___.add(gdstk.Label('& Vendor GLOBALFOUNDRIES', (0,2), layer=63, texttype=63))
c_gf180mcu_fd_sc_mcu9t5v0___.add(gdstk.Label('& Product GF018hv5v_green_sc9', (0,1.5), layer=63, texttype=63))
c_gf180mcu_fd_sc_mcu9t5v0___.add(gdstk.Label('& Version 2015q2v2', (0,1), layer=63, texttype=63))
c_gf180mcu_fd_sc_mcu9t5v0___.add(gdstk.Label('& Metric 1.00', (0,0.5), layer=63, texttype=63))
c_gf180mcu_fd_sc_mcu9t5v0___.add(gdstk.Label('vdd', (0.56,5.49), layer=34, texttype=10))
c_gf180mcu_fd_sc_mcu9t5v0___.add(gdstk.Label('vss', (0.56,-0.45), layer=34, texttype=10))

c_gf180mcu_fd_sc_mcu9t5v0____ = lib.new_cell('gf180mcu_fd_sc_mcu9t5v0__filltie$4')
R(c_gf180mcu_fd_sc_mcu9t5v0____, boundary, [(0,0,1.12,5.04)])
R(c_gf180mcu_fd_sc_mcu9t5v0____, nwell, [(-0.43,2.265,1.55,5.47)])
R(c_gf180mcu_fd_sc_mcu9t5v0____, comp, [(0.36,0.41,0.72,1.785), (0.36,2.425,0.72,3.855)])
R(c_gf180mcu_fd_sc_mcu9t5v0____, pplus, [(0.2,0.25,0.88,1.865)])
P(c_gf180mcu_fd_sc_mcu9t5v0____, pplus, [(-0.2,2.265),(-0.2,5.24),(1.32,5.24),(1.32,2.265),(0.88,2.265),(0.88,4.015),(0.2,4.015),(0.2,2.265)])
P(c_gf180mcu_fd_sc_mcu9t5v0____, nplus, [(-0.2,-0.2),(-0.2,2.265),(0.2,2.265),(0.2,4.015),(0.88,4.015),(0.88,1.865),(0.2,1.865),(0.2,0.25),(0.88,0.25),(0.88,4.015),(0.88,2.265),(1.32,2.265),(1.32,-0.2)])
A(c_gf180mcu_fd_sc_mcu9t5v0____, contact, 0.43, 0.555, 0.22, 0.22, 1, 3, 0, 0.47)
A(c_gf180mcu_fd_sc_mcu9t5v0____, contact, 0.43, 2.495, 0.22, 0.22, 1, 3, 0, 0.47)
P(c_gf180mcu_fd_sc_mcu9t5v0____, metal1, [(0,-0.45),(0,0.45),(0.33,0.45),(0.33,1.91),(0.71,1.91),(0.71,0.45),(1.12,0.45),(1.12,-0.45)],
  [(0.33,2.34),(0.33,4.59),(0,4.59),(0,5.49),(1.12,5.49),(1.12,4.59),(0.71,4.59),(0.71,2.34)])
R(c_gf180mcu_fd_sc_mcu9t5v0____, dualgate, [(-0.28,-0.28,1.4,5.32)])
R(c_gf180mcu_fd_sc_mcu9t5v0____, v5_xtor, [(0,0,1.12,5.04)])
R(c_gf180mcu_fd_sc_mcu9t5v0____, lvpwell, [(-0.43,-0.43,1.55,2.265)])
c_gf180mcu_fd_sc_mcu9t5v0____.add(gdstk.Label('& Vendor GLOBALFOUNDRIES', (0,2), layer=63, texttype=63))
c_gf180mcu_fd_sc_mcu9t5v0____.add(gdstk.Label('& Product GF018hv5v_green_sc9', (0,1.5), layer=63, texttype=63))
c_gf180mcu_fd_sc_mcu9t5v0____.add(gdstk.Label('& Version 2015q2v2', (0,1), layer=63, texttype=63))
c_gf180mcu_fd_sc_mcu9t5v0____.add(gdstk.Label('& Metric 1.00', (0,0.5), layer=63, texttype=63))
c_gf180mcu_fd_sc_mcu9t5v0____.add(gdstk.Label('vdd', (0.56,5.49), layer=34, texttype=10))
c_gf180mcu_fd_sc_mcu9t5v0____.add(gdstk.Label('vss', (0.56,-0.45), layer=34, texttype=10))

op_deadtime_driver = lib.new_cell('op_Deadtime_Driver')
R(op_deadtime_driver, nwell, [(-44.975,-5.895,-42.755,-2.69), (-40.345,-5.895,-36.385,-2.69), (12.045,-5.885,15.77,-2.68), (4.655,3.91,8.245,7.115), (9.57,3.91,13.31,7.115), (23.545,3.91,27.17,7.115), (-39.48,3.99,-35.98,7.195)])
R(op_deadtime_driver, metal1, [(-40.515,-8.555,-36.035,-7.805), (1.72,-8.525,2.16,-7.775), (-43.27,-6.34,-41.74,-5.64), (-41.08,-6.225,-35.61,-5.475), (-34.65,-5.995,-34.29,-5.485), (10.78,-5.935,11.24,-5.5), (-33.87,-5.23,-33.415,-4.53), (-40.605,-3.57,-36.18,-2.645), (-39.96,1.36,-35.96,2.12), (-33.625,2.73,-33.32,3.23), (-36.275,3.715,-35.33,4.415), (-34.365,3.8,-33.97,4.305), (22.185,3.86,22.575,4.295), (3.785,3.865,4.065,4.565), (2.205,3.875,3.265,4.575), (-33.545,4.83,-33.285,5.53)])
R(op_deadtime_driver, metal4, [(-30.335,-6.635,-2.135,-5.245), (-30,1.735,-1.8,2.905)])
R(op_deadtime_driver, lvpwell, [(-44.975,-8.59,-42.785,-5.895), (-40.345,-8.59,-36.505,-5.895), (12.055,-8.58,15.84,-5.885), (4.66,1.215,8.09,3.91), (9.57,1.215,13.345,3.91), (23.545,1.215,27.125,3.91), (-39.475,1.295,-36.185,3.99)])
op_deadtime_driver.add(gdstk.FlexPath([(4.15,1.645),(13.9,1.645)], 0.9, ends="flush", simple_path=True, layer=34, datatype=0))  # metal1
op_deadtime_driver.add(gdstk.FlexPath([(27.885,1.67),(23.18,1.67)], 0.9, ends="flush", simple_path=True, layer=34, datatype=0))  # metal1
op_deadtime_driver.add(gdstk.FlexPath([(11.845,-8.15),(15.955,-8.15)], 0.9, ends="flush", simple_path=True, layer=34, datatype=0))  # metal1
op_deadtime_driver.add(gdstk.FlexPath([(1.035,6.745),(27.875,6.745)], 0.9, ends="flush", simple_path=True, layer=34, datatype=0))  # metal1
op_deadtime_driver.add(gdstk.FlexPath([(27.875,6.75),(29.93,6.75),(29.93,-3.11),(16.605,-3.11)], 0.9, ends="flush", simple_path=True, layer=34, datatype=0))  # metal1
op_deadtime_driver.add(gdstk.FlexPath([(16.605,-3.11),(11.91,-3.11)], 0.9, ends="flush", simple_path=True, layer=34, datatype=0))  # metal1
op_deadtime_driver.add(gdstk.FlexPath([(-42.05,-3.12),(-45.59,-3.12)], 0.9, ends="flush", simple_path=True, layer=34, datatype=0))  # metal1
op_deadtime_driver.add(gdstk.FlexPath([(-45.625,-8.16),(-42.245,-8.16)], 0.9, ends="flush", simple_path=True, layer=34, datatype=0))  # metal1
op_deadtime_driver.add(gdstk.FlexPath([(-35.755,6.775),(-42.05,6.775),(-42.05,-3.335),(-42.05,-3.335)], 0.9, ends="flush", simple_path=True, layer=34, datatype=0))  # metal1
op_deadtime_driver.add(gdstk.FlexPath([(-33.465,6.77),(2.01,6.77)], 0.9, ends="flush", simple_path=True, layer=34, datatype=0))  # metal1
op_deadtime_driver.add(gdstk.FlexPath([(-16.485,0.385),(-16.485,3.64)], 0.7, ends="flush", simple_path=True, layer=81, datatype=0))  # metal5
op_deadtime_driver.add(gdstk.FlexPath([(-16.525,-3.955),(-16.525,-7.435)], 0.7, ends="flush", simple_path=True, layer=81, datatype=0))  # metal5
op_deadtime_driver.add(gdstk.FlexPath([(-19.155,2.39),(-19.155,-1.755)], 0.7, ends="flush", simple_path=True, layer=81, datatype=0))  # metal5
op_deadtime_driver.add(gdstk.FlexPath([(-19.155,-1.76),(-19.155,-6.21)], 0.7, ends="flush", simple_path=True, layer=81, datatype=0))  # metal5
op_deadtime_driver.add(gdstk.FlexPath([(-38.405,-8.16),(-38.405,1.74),(-36.515,1.74)], 0.7, ends="flush", simple_path=True, layer=42, datatype=0))  # metal3
op_deadtime_driver.add(gdstk.FlexPath([(6.91,1.61),(1.47,1.61),(1.47,-8.18)], 0.7, ends="flush", simple_path=True, layer=42, datatype=0))  # metal3
op_deadtime_driver.add(gdstk.FlexPath([(-19.155,-1.73),(1.47,-1.73)], 0.7, ends="flush", simple_path=True, layer=42, datatype=0))  # metal3
op_deadtime_driver.add(gdstk.FlexPath([(-19.155,-1.73),(-38.405,-1.73)], 0.7, ends="flush", simple_path=True, layer=42, datatype=0))  # metal3
op_deadtime_driver.add(gdstk.FlexPath([(-16.515,-3.955),(-32.055,-3.955)], 0.7, ends="flush", simple_path=True, layer=36, datatype=0))  # metal2
op_deadtime_driver.add(gdstk.FlexPath([(11.465,-5.65),(-0.525,-5.65),(-0.525,-3.965),(-16.515,-3.965)], 0.7, ends="flush", simple_path=True, layer=36, datatype=0))  # metal2
op_deadtime_driver.add(gdstk.FlexPath([(-33.06,5.185),(-30.84,5.185),(-30.84,0.385),(-16.48,0.385)], 0.7, ends="flush", simple_path=True, layer=36, datatype=0))  # metal2
op_deadtime_driver.add(gdstk.FlexPath([(-16.485,0.385),(-0.01,0.385),(-0.01,4.225),(2.25,4.225)], 0.7, ends="flush", simple_path=True, layer=36, datatype=0))  # metal2
op_deadtime_driver.add(gdstk.FlexPath([(4.305,4.215),(23,4.215)], 0.7, ends="flush", simple_path=True, layer=36, datatype=0))  # metal2
op_deadtime_driver.add(gdstk.FlexPath([(-36.54,4.05),(-43.355,4.05),(-43.355,-6.22)], 0.7, ends="flush", simple_path=True, layer=36, datatype=0))  # metal2
op_deadtime_driver.add(gdstk.FlexPath([(-33.14,2.99),(-34.825,2.99),(-34.825,-5.9)], 0.5, ends="flush", simple_path=True, layer=36, datatype=0))  # metal2
op_deadtime_driver.add(gdstk.FlexPath([(-34.515,4.085),(-32.055,4.085),(-32.055,-4.935),(-33.3,-4.935)], 0.5, ends="flush", simple_path=True, layer=36, datatype=0))  # metal2
op_deadtime_driver.add(gdstk.Reference(inv_1, (-16.78,-13.38)))
op_deadtime_driver.add(gdstk.Reference(cap_mim_1, (-29.4,3.36)))
op_deadtime_driver.add(gdstk.Reference(inv_8, (-9.54,-21.97)))
op_deadtime_driver.add(gdstk.Reference(via_dev_2, (-43.005,-6.34), rotation=pi/2))
op_deadtime_driver.add(gdstk.Reference(via_dev_2, (-32.82,-5.23), rotation=pi/2))
op_deadtime_driver.add(gdstk.Reference(via_dev_2, (-36.06,3.715), rotation=pi/2))
op_deadtime_driver.add(gdstk.Reference(via_dev_3, (-34.27,3.805), rotation=pi/2))
op_deadtime_driver.add(gdstk.Reference(via_dev_3, (-32.905,2.73), rotation=pi/2))
op_deadtime_driver.add(gdstk.Reference(via_dev_3, (-34.58,-5.995), rotation=pi/2))
op_deadtime_driver.add(gdstk.Reference(via_dev_8, (-16.105,-0.005), rotation=pi/2))
op_deadtime_driver.add(gdstk.Reference(via_dev_2, (2.55,3.875), rotation=pi/2))
op_deadtime_driver.add(gdstk.Reference(via_dev_2, (23.22,3.86), rotation=pi/2))
op_deadtime_driver.add(gdstk.Reference(via_dev_2, (4.645,3.865), rotation=pi/2))
op_deadtime_driver.add(gdstk.Reference(via_dev_2, (11.81,-6.005), rotation=pi/2))
op_deadtime_driver.add(gdstk.Reference(via_dev_2, (-32.7,4.83), rotation=pi/2))
op_deadtime_driver.add(gdstk.Reference(via_dev_8, (-16.14,-4.33), rotation=pi/2))
op_deadtime_driver.add(gdstk.Reference(via_dev, (-36.17,1.36), rotation=pi/2))
op_deadtime_driver.add(gdstk.Reference(via_dev, (-38.02,-8.555), rotation=pi/2))
op_deadtime_driver.add(gdstk.Reference(via_dev, (7.29,1.24), rotation=pi/2))
op_deadtime_driver.add(gdstk.Reference(via_dev, (1.85,-8.525), rotation=pi/2))
op_deadtime_driver.add(gdstk.Reference(nand2_1_1, (-48.98,-13.3)))
op_deadtime_driver.add(gdstk.Reference(cap_mim_1, (-29.735,-34.13)))
op_deadtime_driver.add(gdstk.Reference(nand2_1, (-49.3,-23.185)))
op_deadtime_driver.add(gdstk.Reference(inv_1_1, (-61.565,-23.185)))
op_deadtime_driver.add(gdstk.Reference(inv_8_1, (-20.915,-31.765)))
op_deadtime_driver.add(gdstk.Reference(via_dev_6, (-18.805,2.025), rotation=pi/2))
op_deadtime_driver.add(gdstk.Reference(via_dev_6, (-18.805,-6.505), rotation=pi/2))
op_deadtime_driver.add(gdstk.Reference(via_dev_7, (-18.805,-2.09), rotation=pi/2))
op_deadtime_driver.add(gdstk.Reference(gf180mcu_fd_sc_mcu9t5v0_, (-40.855,1.725)))
op_deadtime_driver.add(gdstk.Reference(c_gf180mcu_fd_sc_mcu9t5v0_, (27.335,1.645)))
op_deadtime_driver.add(gdstk.Reference(c_gf180mcu_fd_sc_mcu9t5v0__, (15.775,-8.15)))
op_deadtime_driver.add(gdstk.Reference(c_gf180mcu_fd_sc_mcu9t5v0___, (8.29,1.645)))
op_deadtime_driver.add(gdstk.Reference(c_gf180mcu_fd_sc_mcu9t5v0____, (-46.35,-8.16)))
op_deadtime_driver.add(gdstk.Label('vout_pmos', (18.205,4.835), layer=34, texttype=10))
op_deadtime_driver.add(gdstk.Label('vout_nmos', (6.905,-5.085), layer=34, texttype=10))
op_deadtime_driver.add(gdstk.Label('vdd', (-35.175,6.535), layer=34, texttype=10))
op_deadtime_driver.add(gdstk.Label('n1', (-39.43,-5.97), layer=34, texttype=10))
op_deadtime_driver.add(gdstk.Label('vss', (-41.38,-8.385), layer=34, texttype=10))
op_deadtime_driver.add(gdstk.Label('vin', (-42.725,-6.11), layer=34, texttype=10))
op_deadtime_driver.add(gdstk.Label('n3', (-30.965,2.98), layer=36, texttype=10))
op_deadtime_driver.add(gdstk.Label('n2', (-32.135,-0.61), layer=36, texttype=10))
op_deadtime_driver.add(gdstk.Label('n4', (9.98,4.135), layer=36, texttype=10))

lib.write_gds('op_Deadtime_Driver.gds')
